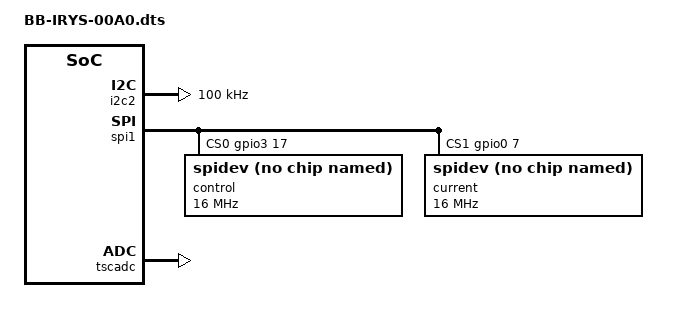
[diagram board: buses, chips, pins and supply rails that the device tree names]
/*
 * Copyright (C) 2013 Kamil Foryszewski 
 *
 * Cape for IRYS robot 
 *
 * This program is free software; you can redistribute it and/or modify
 * it under the terms of the GNU General Public License version 2 as
 * published by the Free Software Foundation.
 */

/dts-v1/;
/plugin/;

/ {
	compatible = "ti,beaglebone", "ti,beaglebone-black", "ti,beaglebone-green";

	/* identification */
	part-number = "BB-IRYS";
	version = "00A0";

	/* state the resources this cape uses */
	exclusive-use =
		/* the pin header uses */
		"P9.19",	/* i2c2_sda */
		"P9.20",	/* i2c2_scl */
		"P9.11", 	/* Motor Left Enable	*/
		"P9.12", 	/* Motor Right Direction	*/
		"P9.13", 	/* Motor Left Step	*/
		"P9.14", 	/* Motor Right Step */
		"P9.15", 	/* Motor Left Direction	*/
		"P9.16", 	/* Motor Right Enable   */
		"P9.28", 	/* SPI1_CS0 	*/
		"P9.29", 	/* SPI1_MISO   */
		"P9.30", 	/* SPI1_MOSI	*/
		"P9.31", 	/* SPI1_SCLK	*/
		"P9.36", 	/* AIN5        */
		"P9.38", 	/* AIN3        */
		"P9.40", 	/* AIN1        */
        	"P8.11", 	/* Motor Left M0* /
        	"P8.13", 	/* Motor Left M1 */
        	"P8.17", 	/* Motor Right M0 */
        	"P8.19", 	/* Motor Right M1 */
		/* the hardware ip uses */
		"i2c2";

	fragment@0 {
		target = <&am33xx_pinmux>;
		__overlay__ {
			bb_i2c2_pins: pinmux_bb_i2c2_pins {
				pinctrl-single,pins = <
					0x178 0x73	/* i2c2_sda, SLEWCTRL_SLOW | INPUT_PULLUP | MODE3 */
					0x17c 0x73	/* i2c2_scl, SLEWCTRL_SLOW | INPUT_PULLUP | MODE3 */
				>;
			};

			bone_spi1_pins: pinmux_spi1_pins {
               			 pinctrl-single,pins = <
                    			0x190 0x13	/* P9_31 = mcasp0_aclkx.spi1_sclk				, OUTPUT_PULLUP | MODE3 */
                			0x194 0x33	/* P9_29 = mcasp0_fsx.spi1_d0					, INPUT_PULLUP  | MODE3 */
                    			0x198 0x13	/* P9_30 = mcasp0_axr0.spi1_d1					, OUTPUT_PULLUP | MODE3 */
                    			0x19c 0x13	/* P9_28 = mcasp0_ahclkr.spi1_cs0				, OUTPUT_PULLUP | MODE3 */					
                    			0x164 0x12  	/* P9_42 = GPIO0_7 =  eCAP0_in_PWM0_out.gpio0[7] 		, OUTPUT_PULLUP | MODE2 */
                		>;
            		};				

			stepper_pins: pinmux_stepper_pins{
				pinctrl-single,pins = <

				    	0x034 0x07 // P8_11 (22) = LeftM0 		= GPIO1_13	
				    	0x024 0x07 // P8_13 (24) = LeftM1	 	= GPIO0_23
					0x02C 0x07 // P8_17 (6)  = RightM0	 	= GPIO0_27
				    	0x020 0x07 // P8_19 (25) = RightM1	 	= GPIO0_22

					0x070 0x07 // P9_11 = Motor Left Enable  	= GPIO0_30
					0x078 0x07 // P9_12 = Motor Right Direction 	= GPIO1_60
					0x074 0x07 // P9_13 = Motor Left Step  		= GPIO0_31
					0x048 0x07 // P9_14 = Motor Right Step  	= GPIO0_50
					0x040 0x07 // P9_15 = Motor Left Direction 	= GPIO1_48
					0x04C 0x07 // P9_16 = Motor Right Enable  	= GPIO0_51


				>;
			};
		
		};
	};

	fragment@1 {
		target = <&i2c2>;
		__overlay__ {
			status = "okay";
			pinctrl-names = "default";
			pinctrl-0 = <&bb_i2c2_pins>;

			/* this is the configuration part */
			clock-frequency = <100000>;

			#address-cells = <1>;
			#size-cells = <0>;

			/* add any i2c devices on the bus here */

		};
	};

	fragment@2 {
		target = <&spi1>;
		__overlay__ {
		    #address-cells 	= <1>;
		    #size-cells 	= <0>;
		    status			= "okay";
		    pinctrl-names	= "default";
		    pinctrl-0		= <&bone_spi1_pins>;	
		    cs-gpios 		= <&gpio3 17 0>, <&gpio0 7 0>;

		    control{
		        #address-cells 	  = <1>;
		        #size-cells 	  = <0>;
		        compatible 		  = "spidev";
		        reg 			  = <0>;
		        spi-max-frequency = <16000000>;
		        spi-cpha;		  //control has mode 1 (CPOL = 0, CPHA = 1)
		    };

		    current{
		        #address-cells 	  = <1>;
		        #size-cells 	  = <0>;
		        compatible 		  = "spidev";
		        reg 			  = <1>;
		        spi-max-frequency = <16000000>;
		           				  //current has mode 0 (CPOL = 0, CPHA = 0)
		    };
		};
	};

	fragment@3 {
		target = <&tscadc>;
		__overlay__ {			
		    status = "okay";
		    adc {
		        ti,adc-channels = <1 3 5>;
		    };
		};
	};

};
